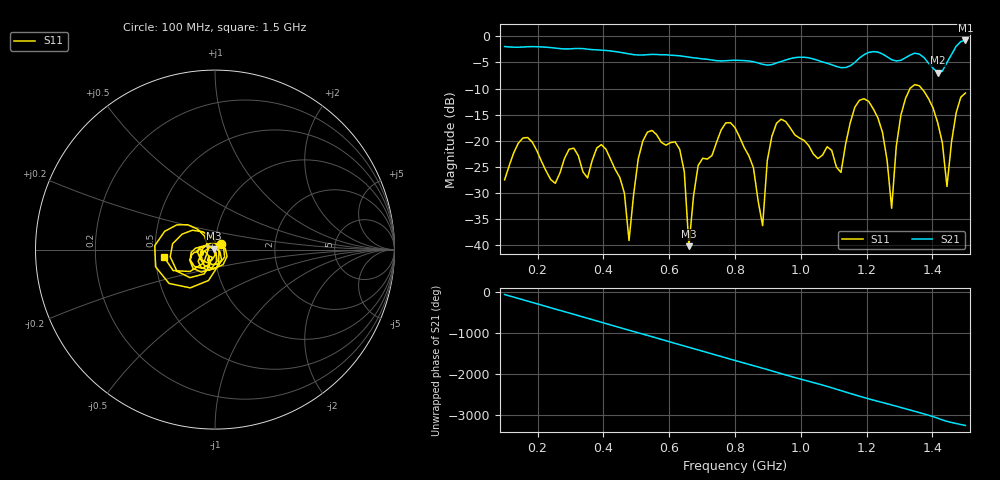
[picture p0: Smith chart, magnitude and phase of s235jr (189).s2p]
! NanoVNA-App
! Date: 2025-09-25 15:05:38
! Start: 100MHz Stop: 1,5GHz Points: 101
! S-Parameter data: F S11 S21 S12 S22
# Hz S RI R 50
!  Frequency  S11_Real  S11_Imag  S21_Real  S21_Imag  S12_Real  S12_Imag  S22_Real  S22_Imag
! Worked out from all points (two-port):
!   101 points, 100 MHz to 1.5 GHz, reference 50 ohm
!   highest |S21| = -0.80 dB at 1.5 GHz (marker M1); lowest = -7.0 dB at 1.416 GHz (marker M2)
!   |S21| within 3 dB of the highest: start of sweep to 638.8 MHz; 1.186 GHz to 1.259 GHz (72.7 MHz wide, 5.95 % of centre) (the widest 2 of 4)
!   lowest |S11| = -40.2 dB at 660 MHz (marker M3), VSWR 1.02, Z = 49.2 + j0.537 ohm
!   |S11| at or under -10 dB: start of sweep to 1.332 GHz; 1.367 GHz to end of sweep
!   S12 and S22 are empty: the file has one direction only
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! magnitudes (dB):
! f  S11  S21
! 100 MHz  -27.5  -2.0
! 156 MHz  -19.5  -2.1
! 338 MHz  -25.9  -2.4
! 408 MHz  -21.6  -2.7
! 478 MHz  -39.1  -3.4
! 520 MHz  -20.0  -3.6
! 576 MHz  -20.3  -3.5
! 632 MHz  -21.6  -3.7
! 660 MHz  -40.2  -4.0
! 688 MHz  -24.7  -4.2
! 800 MHz  -17.5  -4.6
! 884 MHz  -36.3  -5.4
! 926 MHz  -16.7  -5.1
! 1.038 GHz  -22.5  -4.3
! 1.122 GHz  -26.1  -6.0
! 1.206 GHz  -12.5  -3.1
! 1.248 GHz  -18.4  -3.4
! 1.276 GHz  -32.9  -4.5
! 1.332 GHz  -10.0  -3.6
! 1.416 GHz  -16.6  -7.0
! 1.444 GHz  -28.7  -5.0
! 1.5 GHz  -10.9  -0.8
